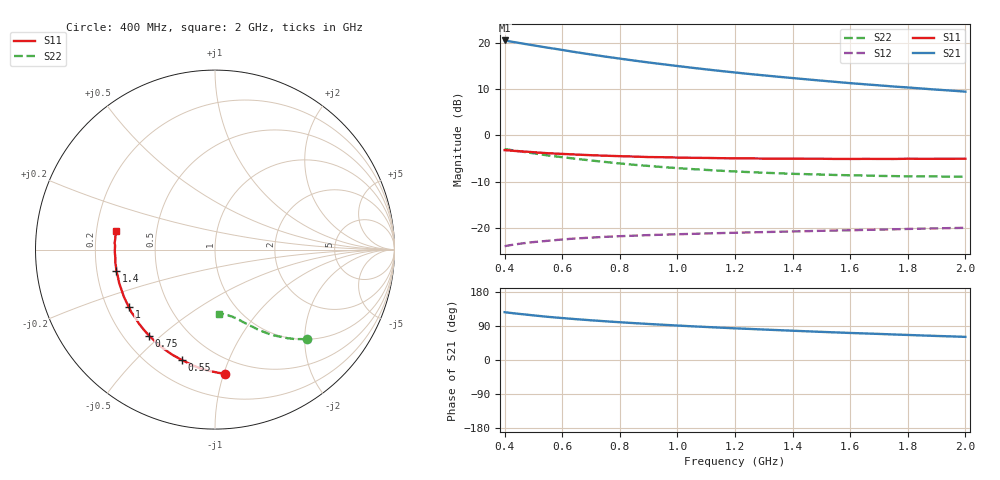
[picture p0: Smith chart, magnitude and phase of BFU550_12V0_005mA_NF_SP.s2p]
! Filename:  P:\Prog\Test\Noise\ATS_data\Testdata_Net\06 Compressed Noise after Statistics\BFU550_APG2013_43_D05_12p0V_005mA_NF_CM01_D.sf
! Date/Time: Fri 26/Apr/2013 13:07:24
! BFU550_APG2013_43_D05_12p0V_1to35mA_NF_CM01_Bias4_R.sf
! Noise Parameter Data File
! BFU550_APG2013_43_D05_12p0V_1to35mA_NF_CM01
! Date/time: Thu Apr 25 18:42:45 2013
! VAR V_out= 12.001000
! VAR I_out= 4.990000
! VAR V_in= 0.799800
! VAR I_in= 0.044505
! Device data file deembeded for feedlines and parallel
! Original file: \06 Compressed Noise after Statistics\BFU550_APG2013_43_D05_12p0V_005mA_NF_CM01_R.sf
! Feed-files: PR047V01_250413_Feed1.s2p, PR047V01_250413_Feed2.s2p
! Parallel-file: PR047V01_250413_Par.s2p
# MHz S MA R 50
!  Freq-MHz  S11-mag  S11-arg  S21-mag  S21-arg  S12-mag  S12-arg  S22-mag  S22-arg
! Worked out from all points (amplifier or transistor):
!   37 points, 400 MHz to 2 GHz, reference 50 ohm
!   highest |S21| = 20.6 dB at 400 MHz (marker M1)
!   |S21| within 3 dB of that: start of sweep to 696.5 MHz
!   unconditionally stable (mu >= 1): nowhere
!   at 500 MHz: K = 0.30, MSG = 21.3 dB, |S12| = -23.1 dB
!   at 1.1 GHz: K = 0.61, MSG = 17.7 dB, |S12| = -21.2 dB
!   at 2 GHz: K = 0.96, MSG = 14.7 dB, |S12| = -20.0 dB
!   lowest NFmin = 0.62 dB at 440 MHz
!   S11 on the Smith chart (normalised r, x): 400 MHz: 0.38, -1.01; 550 MHz: 0.33, -0.69; 750 MHz: 0.30, -0.46; 1 GHz: 0.29, -0.28; 1.4 GHz: 0.28, -0.10; 2 GHz: 0.28, +0.09
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400  0.6943 -85.3  10.66 126.1  0.0635 48.8  0.7122 -44.3
433  0.6815 -90.4  10.23 123.2  0.06609 47.0  0.6877 -46.5
460  0.6724 -94.3  9.895 120.9  0.06796 45.6  0.6694 -48.2
500  0.6591 -99.9  9.434 117.8  0.07031 43.7  0.6416 -50.4
550  0.6427 -106.6  8.901 113.9  0.07258 41.7  0.6086 -53.0
600  0.6318 -112.3  8.415 110.7  0.07502 40.0  0.5824 -55.3
650  0.6213 -117.7  7.937 107.6  0.07705 38.5  0.5585 -57.3
700  0.6118 -122.6  7.515 104.8  0.07853 37.3  0.5362 -59.1
750  0.6042 -127.4  7.128 102.2  0.08015 36.2  0.5168 -60.8
800  0.5974 -131.6  6.782 99.7  0.0814 35.4  0.4984 -62.4
850  0.5913 -135.7  6.454 97.3  0.08249 34.6  0.4816 -63.7
900  0.5841 -139.6  6.158 95.1  0.08365 33.9  0.4683 -65.1
950  0.582 -143.0  5.892 93.0  0.08456 33.4  0.4549 -66.5
1000  0.5769 -146.3  5.639 90.9  0.08549 33.0  0.4435 -67.6
1100  0.5717 -152.5  5.185 87.2  0.08715 32.4  0.4242 -69.8
1200  0.5659 -158.3  4.799 83.6  0.08867 31.9  0.4083 -72.0
1300  0.5625 -163.3  4.467 80.4  0.09016 31.8  0.3954 -73.8
1400  0.5618 -167.9  4.178 77.3  0.09161 31.8  0.3849 -75.6
1500  0.56 -172.5  3.917 74.2  0.09308 31.8  0.378 -77.7
1600  0.5574 -176.7  3.681 71.4  0.09433 32.0  0.3712 -79.4
1750  0.5571 177.7  3.387 67.4  0.09659 32.5  0.3637 -82.1
2000  0.5602 169.4  2.978 61.0  0.1002 33.5  0.3575 -86.5
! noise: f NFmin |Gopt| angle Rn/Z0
400  0.6701  0.1748  40.74  0.1159
460  0.6236  0.1738  57.25  0.1019
600  0.6549  0.1868  64.52  0.1015
800  0.7174  0.1914  79.41  0.1023
1000  0.7528  0.2175  96.33  0.0943
1200  0.8064  0.249  109.8  0.0895
1400  0.8308  0.2647  126.3  0.0816
1600  0.8892  0.2824  139.7  0.0738
1800  0.8073  0.3258  150.3  0.0634
2000  1.009  0.3614  160.3  0.0577
